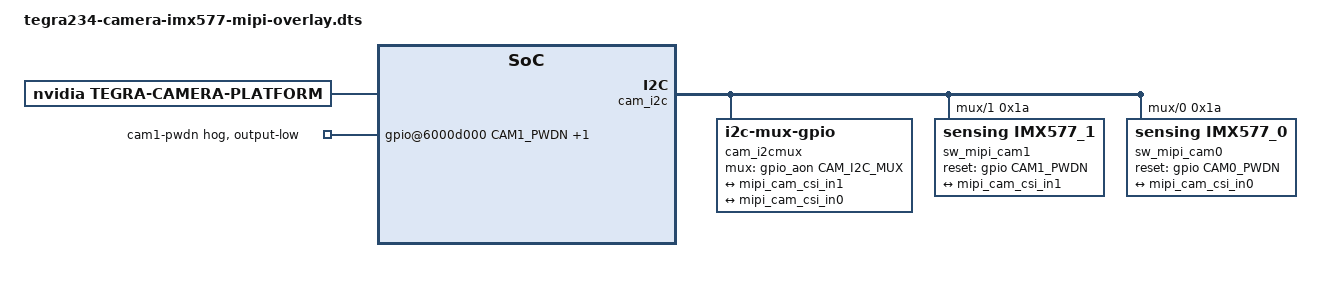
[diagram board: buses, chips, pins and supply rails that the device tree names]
// SPDX-License-Identifier: GPL-2.0-only
// SPDX-FileCopyrightText: Copyright (c) 2023-2024, NVIDIA CORPORATION & AFFILIATES. All rights reserved.

/dts-v1/;
/plugin/;

#define CAM0_PWDN	TEGRA234_MAIN_GPIO(H, 6)
#define CAM1_PWDN	TEGRA234_MAIN_GPIO(AC, 0)
#define CAM_I2C_MUX 	TEGRA234_AON_GPIO(CC, 3)

#include <dt-bindings/tegra234-p3767-0000-common.h>

/ {
	overlay-name = "Camera SG12-MIPI-IMX577";
	jetson-header-name = "Jetson 24pin CSI Connector";
	compatible = JETSON_COMPATIBLE_P3768;
	/* SG12-MIPI-imx577 connected to cam1 port */

	fragment@0 {
		target-path = "/";
		__overlay__ {
			tegra-capture-vi  {
				num-channels = <2>;
				ports {
					#address-cells = <1>;
					#size-cells = <0>;
					port@0 {
						reg = <0>;
						mipi_cam_vi_in0: endpoint {
							port-index = <1>;
							bus-width = <2>;
							remote-endpoint = <&mipi_cam_csi_out0>;
						};
					};
					port@1 {
						reg = <1>;
						mipi_cam_vi_in1: endpoint {
							port-index = <2>;
							bus-width = <4>;
							remote-endpoint = <&mipi_cam_csi_out1>;
						};
					};
				};
			};
			tegra-camera-platform {
				compatible = "nvidia, tegra-camera-platform";

				/**
				* Physical settings to calculate max ISO BW
				*
				* num_csi_lanes = <>;
				* Total number of CSI lanes when all cameras are active
				*
				* max_lane_speed = <>;
				* Max lane speed in Kbit/s
				*
				* min_bits_per_pixel = <>;
				* Min bits per pixel
				*
				* vi_peak_byte_per_pixel = <>;
				* Max byte per pixel for the VI ISO case
				*
				* vi_bw_margin_pct = <>;
				* Vi bandwidth margin in percentage
				*
				* max_pixel_rate = <>;
				* Max pixel rate in Kpixel/s for the ISP ISO case
				*
				* isp_peak_byte_per_pixel = <>;
				* Max byte per pixel for the ISP ISO case
				*
				* isp_bw_margin_pct = <>;
				* Isp bandwidth margin in percentage
				*/
				num_csi_lanes = <4>;
				max_lane_speed = <1500000>;
				min_bits_per_pixel = <10>;
				vi_peak_byte_per_pixel = <2>;
				vi_bw_margin_pct = <25>;
				max_pixel_rate = <7500000>;
				isp_peak_byte_per_pixel = <5>;
				isp_bw_margin_pct = <25>;

				/**
				 * The general guideline for naming badge_info contains 3 parts, and is as follows,
				 * The first part is the camera_board_id for the module; if the module is in a FFD
				 * platform, then use the platform name for this part.
				 * The second part contains the position of the module, ex. "rear" or "front".
				 * The third part contains the last 6 characters of a part number which is found
				 * in the module's specsheet from the vendor.
				 */
				modules {
					module0 {
						
						badge = "sgx_rear_imx577";
						position = "rear";
						orientation = "1";
						drivernode0 {
							pcl_id = "v4l2_sensor";
							sysfs-device-tree = "/sys/firmware/devicetree/base/bus@0/cam_i2cmux/i2c@1/cam_0@1a";
						};
					};
					module1 {
						badge = "sgx_front_imx577";
						position = "front";
						orientation = "1";
						drivernode0 {
							pcl_id = "v4l2_sensor";
							sysfs-device-tree = "/sys/firmware/devicetree/base/bus@0/cam_i2cmux/i2c@0/cam_1@1a";
						};
					};
				};
			};
			bus@0 {
				host1x@13e00000 {
					nvcsi@15a00000 {
						num-channels = <2>;
						#address-cells = <1>;
						#size-cells = <0>;
						channel@0 {
							reg = <0>;
							ports {
								#address-cells = <1>;
								#size-cells = <0>;
								port@0 {
									reg = <0>;
									mipi_cam_csi_in0: endpoint@0 {
										port-index = <1>;
										bus-width = <2>;
										remote-endpoint = <&mipi_cam_out0>;
									};
								};
								port@1 {
									reg = <1>;
									mipi_cam_csi_out0: endpoint@1 {
										remote-endpoint = <&mipi_cam_vi_in0>;
									};
								};
							};
						};
						channel@1 {
							reg = <1>;
							ports {
								#address-cells = <1>;
								#size-cells = <0>;
								port@0 {
									reg = <0>;
									mipi_cam_csi_in1: endpoint@2 {
										port-index = <2>;
										bus-width = <4>;
										remote-endpoint = <&mipi_cam_out1>;
									};
								};
								port@1 {
									reg = <1>;
									mipi_cam_csi_out1: endpoint@3 {
										remote-endpoint = <&mipi_cam_vi_in1>;
									};
								};
							};
						};
					};
				};
				cam_i2cmux {
					status = "okay";
					compatible = "i2c-mux-gpio";
					#address-cells = <1>;
					#size-cells = <0>;
					mux-gpios = <&gpio_aon CAM_I2C_MUX GPIO_ACTIVE_HIGH>;
					i2c-parent = <&cam_i2c>;
					i2c@0 {
						status = "okay";
						reg = <1>;
						#address-cells = <1>;
						#size-cells = <0>;
						rbpcv2_imx219_a@10 {
							status = "disabled";
						};

						sw_mipi_cam1: cam_1@1a {
							compatible = "sensing,imx577_1";
							/* I2C device address */
							reg = <0x1a>;

							/* V4L2 device node location */
							devnode = "video1";

							/* Physical dimensions of sensor */
							physical_w = "3.680";
							physical_h = "2.760";

							sensor_model = "imx577";				
							
							/* Defines number of frames to be dropped by driver internally after applying */
							/* sensor crop settings. Some sensors send corrupt frames after applying */
							/* crop co-ordinates */
							post_crop_frame_drop = "0";

							/* Convert Gain to unit of dB (decibel) befor passing to kernel driver */
							use_decibel_gain = "true";

							/* if true, delay gain setting by one frame to be in sync with exposure */
							delayed_gain = "true";

							/* enable CID_SENSOR_MODE_ID for sensor modes selection */

							use_sensor_mode_id = "true";

							reset-gpios = <&gpio CAM1_PWDN GPIO_ACTIVE_HIGH>;

							mode0 { /* 4056x3040_4lane_raw10_40fps_linear */
								mclk_khz = "24000";
								num_lanes = "4";
								tegra_sinterface = "serial_c";
								phy_mode = "DPHY";
								discontinuous_clk = "no";
								dpcm_enable = "false";
								cil_settletime = "0";

								active_w = "4056";
								active_h = "3040";
								mode_type = "bayer";
								pixel_phase = "rggb";
								csi_pixel_bit_depth = "10";
								dynamic_pixel_bit_depth = "10";
								readout_orientation = "90";
								line_length = "4512";
								inherent_gain = "1";
								mclk_multiplier = "25";
								pix_clk_hz = "600000000";

								gain_factor = "10";
								min_gain_val = "10"; /* 1.00x */
								max_gain_val = "220"; /* 22x */
								step_gain_val = "5";
								default_gain = "10"; /* 1.00x */
								min_hdr_ratio = "1";
								max_hdr_ratio = "1";
								framerate_factor = "1000000";
								min_framerate = "40000000";
								max_framerate = "40000000";
								step_framerate = "1";
								default_framerate = "40000000";
								exposure_factor = "1000000";
								min_exp_time = "22"; /*us, 2 lines*/
								max_exp_time = "25000";
								step_exp_time = "1";
								default_exp_time = "25000";/* us */
								embedded_metadata_height = "2";
							};
							
							mode1{ /* 4056x2288_4lane_raw10_60fps_linear */
								mclk_khz = "24000";
								num_lanes = "4";
								tegra_sinterface = "serial_c";
								phy_mode = "DPHY";
								discontinuous_clk = "no";
								dpcm_enable = "false";
								cil_settletime = "0";

								active_w = "4056";
								active_h = "2288";
								mode_type = "bayer";
								pixel_phase = "rggb";
								csi_pixel_bit_depth = "10";
								dynamic_pixel_bit_depth = "10";
								readout_orientation = "90";
								line_length = "4512";
								inherent_gain = "1";
								mclk_multiplier = "27";
								pix_clk_hz = "648000000";

								gain_factor = "10";
								min_gain_val = "10"; /* 1.00x */
								max_gain_val = "220"; /* 22x */
								step_gain_val = "5";
								default_gain = "10"; /* 1.00x */
								min_hdr_ratio = "1";
								max_hdr_ratio = "1";
								framerate_factor = "1000000";
								min_framerate = "60000000";
								max_framerate = "60000000";
								step_framerate = "1";
								default_framerate = "60000000";
								exposure_factor = "1000000";
								min_exp_time = "14"; /*us, 2 lines*/
								max_exp_time = "16000";
								step_exp_time = "20";
								default_exp_time = "16000";/* us */
								embedded_metadata_height = "2";
							};

							mode2{ /* 2024x1144_4lane_raw10_60fps_linear */
								mclk_khz = "24000";
								num_lanes = "4";
								tegra_sinterface = "serial_c";
								phy_mode = "DPHY";
								discontinuous_clk = "no";
								dpcm_enable = "false";
								cil_settletime = "0";

								active_w = "2024";
								active_h = "1144";
								mode_type = "bayer";
								pixel_phase = "rggb";
								csi_pixel_bit_depth = "10";
								dynamic_pixel_bit_depth = "10";
								readout_orientation = "90";
								line_length = "4512";
								inherent_gain = "1";
								mclk_multiplier = "27";
								pix_clk_hz = "648000000";

								gain_factor = "10";
								min_gain_val = "10"; /* 1.00x */
								max_gain_val = "220"; /* 22x */
								step_gain_val = "5";
								default_gain = "10"; /* 1.00x */
								min_hdr_ratio = "1";
								max_hdr_ratio = "1";
								framerate_factor = "1000000";
								min_framerate = "60000000";
								max_framerate = "60000000";
								step_framerate = "1";
								default_framerate = "60000000";
								exposure_factor = "1000000";
								min_exp_time = "14"; /*us, 2 lines*/
								max_exp_time = "16000";
								step_exp_time = "1";
								default_exp_time = "16000";/* us */
								embedded_metadata_height = "2";
							};

							mode3{ /* 2028x1520_4lane_raw10_130fps_linear */
								mclk_khz = "24000";
								num_lanes = "4";
								tegra_sinterface = "serial_c";
								phy_mode = "DPHY";
								discontinuous_clk = "no";
								dpcm_enable = "false";
								cil_settletime = "0";

								active_w = "2028";
								active_h = "1520";
								mode_type = "bayer";
								pixel_phase = "rggb";
								csi_pixel_bit_depth = "10";
								dynamic_pixel_bit_depth = "10";
								readout_orientation = "90";
								line_length = "2976";
								inherent_gain = "1";
								mclk_multiplier = "27";
								pix_clk_hz = "648000000";

								gain_factor = "10";
								min_gain_val = "10"; /* 1.00x */
								max_gain_val = "220"; /* 22x */
								step_gain_val = "5";
								default_gain = "10"; /* 1.00x */
								min_hdr_ratio = "1";
								max_hdr_ratio = "1";
								framerate_factor = "1000000";
								min_framerate = "130000000";
								max_framerate = "130000000";
								step_framerate = "1";
								default_framerate = "130000000";
								exposure_factor = "1000000";
								min_exp_time = "10"; /*us, 2 lines*/
								max_exp_time = "7000";
								step_exp_time = "1";
								default_exp_time = "7000";/* us */
								embedded_metadata_height = "2";
							};

							mode4{ /* 2028x1110_4lane_raw10_240fps_linear */
								mclk_khz = "24000";
								num_lanes = "4";
								tegra_sinterface = "serial_c";
								phy_mode = "DPHY";
								discontinuous_clk = "no";
								dpcm_enable = "false";
								cil_settletime = "0";

								active_w = "2028";
								active_h = "1110";
								mode_type = "bayer";
								pixel_phase = "rggb";
								csi_pixel_bit_depth = "10";
								dynamic_pixel_bit_depth = "10";
								readout_orientation = "90";
								line_length = "2976";
								inherent_gain = "1";
								mclk_multiplier = "30";
								pix_clk_hz = "720000000";

								gain_factor = "10";
								min_gain_val = "10"; /* 1.00x */
								max_gain_val = "220"; /* 22x */
								step_gain_val = "5";
								default_gain = "10"; /* 1.00x */
								min_hdr_ratio = "1";
								max_hdr_ratio = "1";
								framerate_factor = "1000000";
								min_framerate = "240000000";
								max_framerate = "240000000";
								step_framerate = "1";
								default_framerate = "240000000";
								exposure_factor = "1000000";
								min_exp_time = "10"; /*us, 2 lines*/
								max_exp_time = "5000";
								step_exp_time = "1";
								default_exp_time = "5000";/* us */
								embedded_metadata_height = "2";
							};

							mode5{ /* 4046x3040_4lane_raw10_15fps_dol2 */
								mclk_khz = "24000";
								num_lanes = "4";
								tegra_sinterface = "serial_c";
								phy_mode = "DPHY";
								discontinuous_clk = "no";
								dpcm_enable = "false";
								cil_settletime = "0";

								active_w = "4060";
								active_h = "6480";   
								mode_type = "bayer_wdr_dol";
								pixel_phase = "rggb";
								csi_pixel_bit_depth = "10";
								dynamic_pixel_bit_depth = "10";
								readout_orientation = "90";
								line_length = "4512";
								inherent_gain = "1";
								mclk_multiplier = "18";
								pix_clk_hz = "432000000";

								gain_factor = "10";
								min_gain_val = "10"; /* 1.00x */
								max_gain_val = "220"; /* 22x */
								step_gain_val = "5";
								default_gain = "10"; /* 1.00x */
								min_hdr_ratio = "16";
								max_hdr_ratio = "16";
								framerate_factor = "1000000";
								min_framerate = "15000000";
								max_framerate = "15000000";
								step_framerate = "1";
								default_framerate = "15000000";
								exposure_factor = "1000000";
								min_exp_time = "22"; /*us, 2 lines*/
								max_exp_time = "66000";
								step_exp_time = "1";
								default_exp_time = "66000";/* us */
								embedded_metadata_height = "2";

								num_of_exposure = "2";
								num_of_ignored_lines = "0";
								num_of_lines_offset_0 = "200";
								num_of_ignored_pixels = "4";
								num_of_left_margin_pixels = "10";
								num_of_right_margin_pixels = "0";
							};

							mode6{ /* 4046x2288_4lane_raw10_30fps_dol2 */
								mclk_khz = "24000";
								num_lanes = "4";
								tegra_sinterface = "serial_c";
								phy_mode = "DPHY";
								discontinuous_clk = "no";
								dpcm_enable = "false";
								cil_settletime = "0";

								active_w = "4060";
								active_h = "4976";      //4576
								mode_type = "bayer_wdr_dol";
								pixel_phase = "rggb";
								csi_pixel_bit_depth = "10";
								dynamic_pixel_bit_depth = "10";
								readout_orientation = "90";
								line_length = "4512";
								inherent_gain = "1";
								mclk_multiplier = "27";
								pix_clk_hz = "648000000";  			

								gain_factor = "10";
								min_gain_val = "10"; /* 1.00x */
								max_gain_val = "220"; /* 22x */
								step_gain_val = "5";
								default_gain = "10"; /* 1.00x */
								min_hdr_ratio = "8";
								max_hdr_ratio = "8";
								framerate_factor = "1000000";
								min_framerate = "30000000";
								max_framerate = "30000000";
								step_framerate = "1";
								default_framerate = "30000000";
								exposure_factor = "1000000";
								min_exp_time = "15"; /*us, 2 lines*/
								max_exp_time = "30000";
								step_exp_time = "1";
								default_exp_time = "30000";/* us */
								embedded_metadata_height = "2";

								num_of_exposure = "2";
								num_of_ignored_lines = "0";
								num_of_lines_offset_0 = "200";
								num_of_ignored_pixels = "4";
								num_of_left_margin_pixels = "10";
								num_of_right_margin_pixels = "0";
							};

							ports {
								#address-cells = <1>;
								#size-cells = <0>;

								port@0 {
									reg = <0>;
									mipi_cam_out1: endpoint {
										port-index = <2>;
										bus-width = <4>;
										remote-endpoint = <&mipi_cam_csi_in1>;
									};
								};
							};
						};
					};
					i2c@1 {
						status = "okay";
						reg = <0>;
						#address-cells = <1>;
						#size-cells = <0>;
						rbpcv2_imx219_c@10 {
							status = "disabled";
						};
						sw_mipi_cam0: cam_0@1a {
							compatible = "sensing,imx577_0";
							/* I2C device address */
							reg = <0x1a>;

							/* V4L2 device node location */
							devnode = "video0";

							/* Physical dimensions of sensor */
							physical_w = "3.680";
							physical_h = "2.760";

							sensor_model = "imx577";				
							
							/* Defines number of frames to be dropped by driver internally after applying */
							/* sensor crop settings. Some sensors send corrupt frames after applying */
							/* crop co-ordinates */
							post_crop_frame_drop = "0";

							/* Convert Gain to unit of dB (decibel) befor passing to kernel driver */
							use_decibel_gain = "true";

							/* if true, delay gain setting by one frame to be in sync with exposure */
							delayed_gain = "true";

							/* enable CID_SENSOR_MODE_ID for sensor modes selection */

							use_sensor_mode_id = "true";

							reset-gpios = <&gpio CAM0_PWDN GPIO_ACTIVE_HIGH>;

							mode0{ /* sensor_mode_968x550_4lane_raw12_linear_30fps */
								mclk_khz = "24000";
								num_lanes = "2";
								tegra_sinterface = "serial_b";
								phy_mode = "DPHY";
								discontinuous_clk = "no";
								dpcm_enable = "false";
								cil_settletime = "0";
								lane_polarity = "6";

								active_w = "4056";
								active_h = "3040";
								mode_type = "bayer";
								pixel_phase = "rggb";
								csi_pixel_bit_depth = "10";
								dynamic_pixel_bit_depth = "10";
								readout_orientation = "0";
								line_length = "8512";
								inherent_gain = "1";
								mclk_multiplier = "33.3";//600000 Khz / 25 =24000 Khz
								pix_clk_hz = "799200000";

								gain_factor = "10";
								min_gain_val = "10"; /* d */
								max_gain_val = "220"; /* d */
								step_gain_val = "5"; /* 0.5 */
								default_gain = "10";
								min_hdr_ratio = "1";
								max_hdr_ratio = "1";
								framerate_factor = "1000000";
								min_framerate = "10000000";
								max_framerate = "30000000";
								step_framerate = "1";
								default_framerate = "30000000";
								exposure_factor = "1000000";
								min_exp_time = "59"; /*us, 2 lines*/
								max_exp_time = "33000";
								step_exp_time = "1";
								default_exp_time = "33000";/* us */
								embedded_metadata_height = "2";
							};

							mode1 {
								mclk_khz = "24000";
								num_lanes = "2";
								tegra_sinterface = "serial_b";
								phy_mode = "DPHY";
								discontinuous_clk = "no";
								dpcm_enable = "false";
								cil_settletime = "0";
								lane_polarity = "6";

								active_w = "3840";
								active_h = "2160";
								mode_type = "bayer";
								pixel_phase = "rggb";
								csi_pixel_bit_depth = "10";
								dynamic_pixel_bit_depth = "10";
								readout_orientation = "0";
								line_length = "8512";
								inherent_gain = "1";
								mclk_multiplier = "26.6";//600000 Khz / 25 =24000 Khz
								pix_clk_hz = "799200000";   //638400000

								gain_factor = "10";
								min_gain_val = "10"; /* d */
								max_gain_val = "220"; /* d */
								step_gain_val = "5"; /* 0.5 */
								default_gain = "10";
								min_hdr_ratio = "1";
								max_hdr_ratio = "1";
								framerate_factor = "1000000";
								min_framerate = "10000000";
								max_framerate = "30000000";
								step_framerate = "1";
								default_framerate = "30000000";
								exposure_factor = "1000000";
								min_exp_time = "59"; /*us, 2 lines*/
								max_exp_time = "33000";
								step_exp_time = "1";
								default_exp_time = "33000";/* us */
								embedded_metadata_height = "2";
							};

							ports {
								#address-cells = <1>;
								#size-cells = <0>;

								port@0 {
									reg = <0>;
									mipi_cam_out0: endpoint {
										port-index = <1>;
										bus-width = <2>;
										remote-endpoint = <&mipi_cam_csi_in0>;
									};
								};
							};
						};
					};
				};
				gpio@6000d000 {
					camera-control-output-low {
						gpio-hog;
						output-low;
						gpios = <CAM1_PWDN 0  CAM0_PWDN 0>;
						label = "cam1-pwdn", "cam0-pwdn";
					};
				};
			};
		};
	};
};
